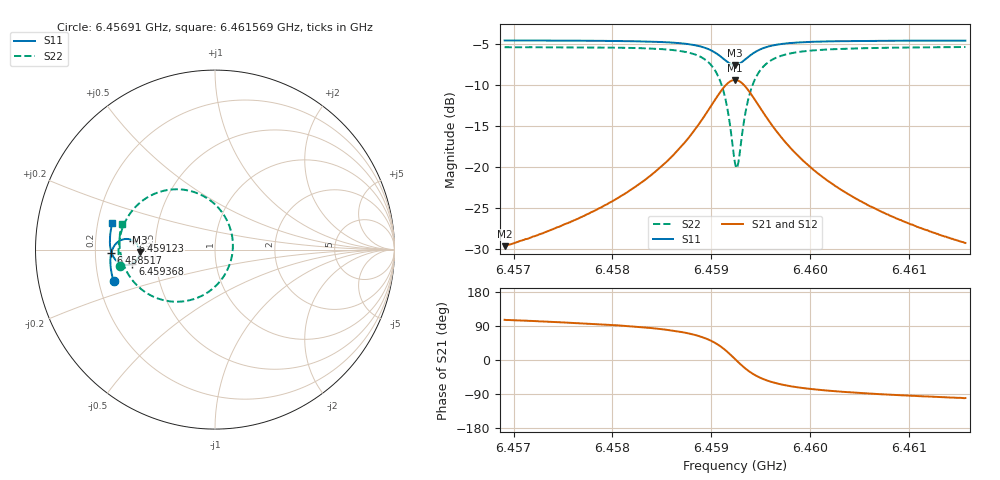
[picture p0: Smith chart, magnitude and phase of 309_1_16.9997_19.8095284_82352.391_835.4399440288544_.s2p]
#  HZ  S  RI  R  50.00
! Rohde & Schwarz Vector Network Analyzer
! Rohde-Schwarz,ZNB20-2Port,1311601062101988,3.16
! Created: UTC 3/20/2024, 11:05:55 PM
! freq[Hz]  re:S11  im:S11  re:S21  im:S21  re:S12  im:S12  re:S22  im:S22
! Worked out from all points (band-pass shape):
!   401 points, 6.45691 GHz to 6.461569 GHz, reference 50 ohm
!   highest |S21| = -9.36 dB at 6.459239 GHz (marker M1); lowest = -29.6 dB at 6.45691 GHz (marker M2)
!   |S21| within 3 dB of the highest: 6.459006 GHz to 6.459472 GHz (466.4 kHz wide, 0.00722 % of centre)
!   lowest |S11| = -7.5 dB at 6.459239 GHz (marker M3), VSWR 2.45, Z = 20.4 - j0.638 ohm
!   |S11| at or under -10 dB: nowhere
!   |S22| runs from -20.1 to -5.4 dB; largest |S21 - S12| = 0.013
!   S11 on the Smith chart (normalised r, x): 6.45691 GHz: 0.26, -0.14; 6.458517 GHz: 0.27, -0.02; 6.459123 GHz: 0.37, +0.05; 6.459368 GHz: 0.37, -0.07; 6.461569 GHz: 0.26, +0.12
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6.45691e9  -0.5649 -0.1776  -0.00918 0.0318  -0.00739 0.0319  -0.5312 -0.0895
6.4576904e9  -0.5798 -0.1097  -0.00592 0.0495  -0.00342 0.049  -0.5373 0.000586
6.458133e9  -0.583 -0.0654  0.000108 0.0695  0.00331 0.0683  -0.5294 0.0699
6.4584707e9  -0.5796 -0.0253  0.0132 0.0973  0.0173 0.0947  -0.5054 0.1449
6.4585173e9  -0.5782 -0.0189  0.0166 0.1029  0.0208 0.0998  -0.4991 0.158
6.458727e9  -0.5664 0.013  0.0423 0.1342  0.0464 0.1295  -0.4514 0.2287
6.4588784e9  -0.5454 0.0393  0.0843 0.1643  0.0877 0.1579  -0.374 0.2925
6.4590298e9  -0.4996 0.0592  0.175 0.1834  0.1762 0.1759  -0.2089 0.3362
6.459123e9  -0.4554 0.0494  0.2639 0.1529  0.2644 0.1468  -0.0453 0.287
6.4591696e9  -0.4343 0.0309  0.3071 0.1106  0.3084 0.1052  0.036 0.2122
6.4592395e9  -0.4196 -0.0128  0.3401 0.0151  0.3435 0.0081  0.0996 0.0359
6.4592511e9  -0.4199 -0.0208  0.34 -0.00239  0.3436 -0.0101  0.0992 0.00287
6.4592744e9  -0.4234 -0.0363  0.3346 -0.0366  0.3381 -0.0456  0.0884 -0.0615
6.4593326e9  -0.4438 -0.067  0.297 -0.1076  0.2982 -0.1198  0.0127 -0.1942
6.4593676e9  -0.4605 -0.078  0.2652 -0.1362  0.2643 -0.1492  -0.0513 -0.2455
6.4594608e9  -0.5035 -0.0848  0.1819 -0.1669  0.1757 -0.1783  -0.2163 -0.2906
6.4596122e9  -0.5469 -0.0644  0.0954 -0.1536  0.087 -0.1598  -0.3803 -0.2424
6.4597752e9  -0.5683 -0.0369  0.051 -0.1265  0.0436 -0.1292  -0.4591 -0.1717
6.4600198e9  -0.5811 -0.00135  0.0223 -0.0956  0.0166 -0.0962  -0.5065 -0.0905
6.4603576e9  -0.5856 0.0386  0.00663 -0.0699  0.0027 -0.0694  -0.5273 -0.0145
6.4608002e9  -0.5838 0.0829  -0.00121 -0.051  -0.00415 -0.0502  -0.532 0.0555
6.4615689e9  -0.5716 0.1506  -0.00623 -0.0341  -0.00804 -0.0331  -0.5202 0.1451
